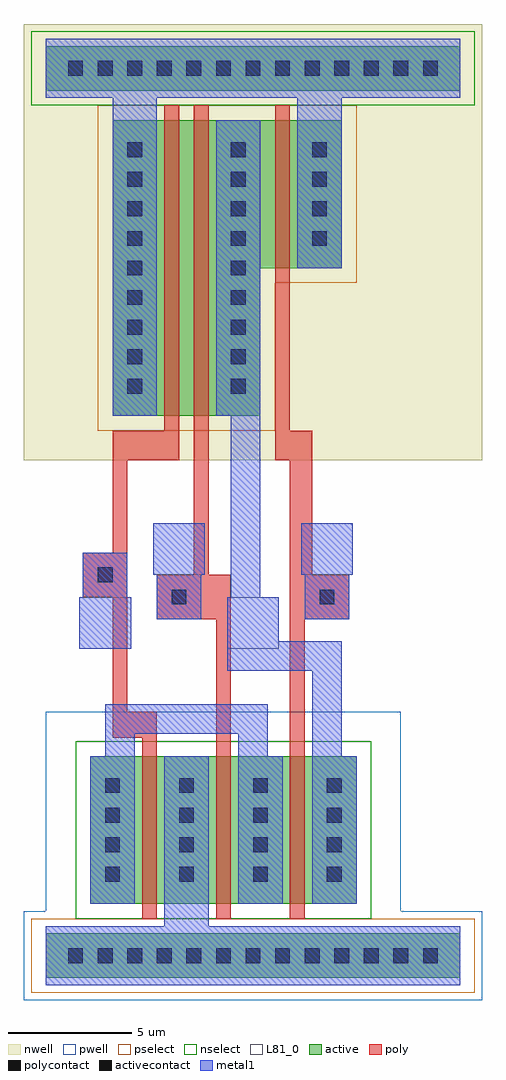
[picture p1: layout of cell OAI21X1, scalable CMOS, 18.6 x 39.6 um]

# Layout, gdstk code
import gdstk
lib = gdstk.Library(unit=1e-6, precision=1e-09)
def R(c, l, rs):  # rectangles x0, y0, x1, y1
    for r in rs: c.add(gdstk.rectangle(r[:2], r[2:], *l))
def A(c, l, x, y, w, h, nx, ny, dx, dy):  # array of equal rectangles
    R(c, l, [(x+i*dx, y+j*dy, x+i*dx+w, y+j*dy+h) for i in range(nx) for j in range(ny)])
pwell = (41, 0)
nwell = (42, 0)
active = (43, 0)
pselect = (44, 0)
nselect = (45, 0)
poly = (46, 0)
polycontact = (47, 0)
activecontact = (48, 0)
metal1 = (49, 0)
L81_0 = (81, 0)

oai21x1 = lib.new_cell('OAI21X1')
R(oai21x1, pwell, [(-1.8,-1.8,16.8,1.8), (-0.9,1.8,13.5,9.9)])
R(oai21x1, nwell, [(-1.8,20.1,16.8,37.8)])
R(oai21x1, active, [(-0.9,-0.9,15.9,0.9), (0.9,2.1,11.7,8.1), (1.8,21.9,7.8,27.9), (1.8,27.9,11.1,33.9), (-0.9,35.1,15.9,36.9)])
R(oai21x1, pselect, [(-1.5,-1.5,16.5,1.5), (1.2,21.3,8.4,27.3), (1.2,27.3,11.7,34.5)])
R(oai21x1, nselect, [(0.3,1.5,12.3,8.7), (-1.5,34.5,16.5,37.5)])
R(oai21x1, poly, [(3,1.5,3.6,8.85), (6,1.5,6.6,13.65), (9,1.5,9.6,13.65), (1.8,8.85,3.6,9.9), (1.8,9.9,2.4,14.55), (3.6,13.65,6.6,15.45), (9,13.65,11.4,15.45), (0.6,14.55,2.4,16.35), (5.1,15.45,5.7,34.5), (9,15.45,9.9,20.1), (1.8,16.35,2.4,20.1), (1.8,20.1,4.5,21.3), (8.4,20.1,9.9,21.3), (3.9,21.3,4.5,34.5), (8.4,21.3,9,34.5)])
R(oai21x1, polycontact, [(4.2,14.25,4.8,14.85), (10.2,14.25,10.8,14.85), (1.2,15.15,1.8,15.75)])
A(oai21x1, activecontact, 0, -0.3, 0.6, 0.6, 13, 2, 1.2, 36)
A(oai21x1, activecontact, 1.5, 3, 0.6, 0.6, 4, 4, 3, 1.2)
A(oai21x1, activecontact, 2.4, 22.8, 0.6, 0.6, 1, 9, 0, 1.2)
A(oai21x1, activecontact, 6.6, 22.8, 0.6, 0.6, 1, 9, 0, 1.2)
A(oai21x1, activecontact, 9.9, 28.8, 0.6, 0.6, 1, 4, 0, 1.2)
R(oai21x1, metal1, [(-0.9,-1.2,15.9,1.2), (3.9,1.2,5.7,8.1), (0.9,2.1,2.7,8.1), (6.9,2.1,8.7,8.1), (9.9,2.1,11.7,8.1), (1.5,8.1,2.7,9), (6.9,8.1,8.1,9), (9.9,8.1,11.1,11.55), (1.5,9,8.1,10.2), (6.45,11.55,11.1,12.75), (0.45,12.45,2.55,14.55), (6.45,12.75,8.55,14.55), (3.6,13.65,5.4,15.45), (9.6,13.65,11.4,15.45), (0.6,14.55,2.4,16.35), (6.6,14.55,7.8,21.9), (3.45,15.45,5.55,17.55), (9.45,15.45,11.55,17.55), (1.8,21.9,3.6,34.8), (6,21.9,7.8,33.9), (9.3,27.9,11.1,34.8), (-0.9,34.8,15.9,37.2)])
R(oai21x1, L81_0, [(0.45,12.45,2.55,14.55), (6.45,12.45,8.55,14.55), (3.45,15.45,5.55,17.55), (9.45,15.45,11.55,17.55)])

lib.write_gds('OAI21X1.gds')
